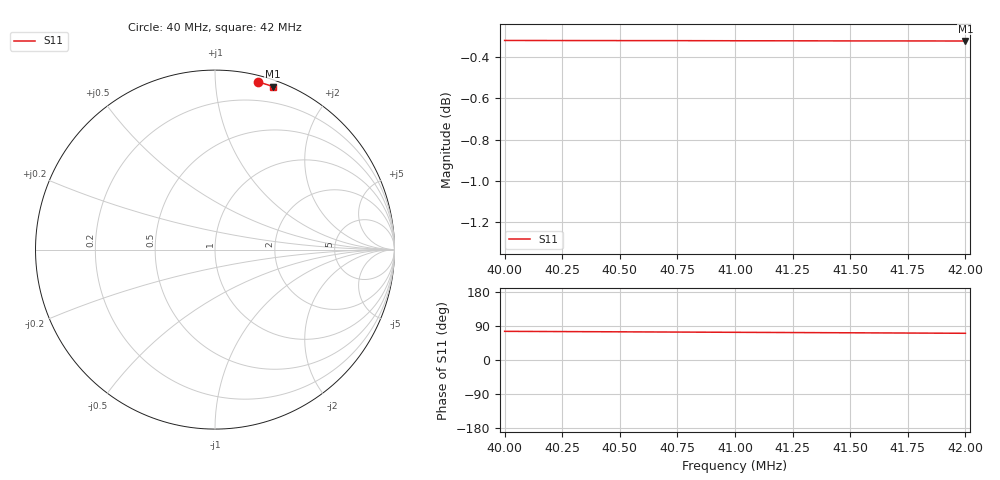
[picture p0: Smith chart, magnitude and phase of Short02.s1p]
# Hz S RI R 50
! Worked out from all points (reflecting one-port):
!   9 points, 40 MHz to 42 MHz, reference 50 ohm
!   lowest |S11| = -0.3 dB at 42 MHz (marker M1), VSWR 54.16, Z = 2.77 + j70.7 ohm
!   phase of S11 starts at 76 deg and turns -5 deg over the sweep
4e7  0.2394 0.9338
4.025e7  0.2498 0.9311
4.05e7  0.2601 0.9282
4.075e7  0.2704 0.9252
4.1e7  0.2807 0.9221
4.125e7  0.291 0.9189
4.15e7  0.3012 0.9155
4.175e7  0.3113 0.9121
4.2e7  0.3215 0.9085
